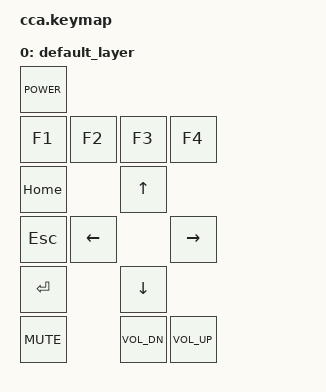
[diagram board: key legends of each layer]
// This file was generated from a template. Edit it to match your keyboard.
// See https://zmk.dev/docs/development/hardware-integration/new-shield for more instructions.

#include <behaviors.dtsi>
#include <dt-bindings/zmk/bt.h>
#include <dt-bindings/zmk/keys.h>

/ {
    behaviors {
        // Use a macro because can't place <&bt BT_CLR> directly in hold-tap
        ZMK_MACRO(bt_clr, bindings = <&bt BT_CLR>;)

        // Unpair/unbind BLE with a 6 second hold of the combo that triggers this operation
        unbind_bt: unbind_bt {
            compatible = "zmk,behavior-hold-tap";
            #binding-cells = <2>;
            tapping-term-ms = <6000>;
            flavor = "tap-preferred";
            bindings = <&bt_clr>, <&none>;
        };
        // Reset the firmware with a 6 second hold of the combo that triggers this operation
        mreset: mreset {
            compatible = "zmk,behavior-hold-tap";
            #binding-cells = <2>;
            tapping-term-ms = <6000>;
            flavor = "tap-preferred";
            bindings = <&sys_reset>, <&none>;
        };
        // Reset the firmware to the bootloader with a 10 second hold of the combo that triggers this operation
        mbootloader: mbootloader {
            compatible = "zmk,behavior-hold-tap";
            #binding-cells = <2>;
            tapping-term-ms = <10000>;
            flavor = "tap-preferred";
            bindings = <&bootloader>, <&none>;
        };
    };

    combos {
        compatible = "zmk,combos";
        combo_unpair {
            timeout-ms = <50>;
            key-positions = <0 14>;
            bindings = <&unbind_bt 0 0>;
        };
        combo_reset {
            timeout-ms = <50>;
            key-positions = <0 12>;
            bindings = <&mreset 0 0>;
        };
        combo_bootloader {
            timeout-ms = <50>;
            key-positions = <0 7 10>;
            bindings = <&mbootloader 0 0>;
        };
    };

    // Define a default keymap here.
    // See https://zmk.dev/docs/development/hardware-integration/new-shield#default-keymap.
    keymap {
        compatible = "zmk,keymap";

        default_layer {
            bindings = <
                &kp K_POWER
                &kp F1 &kp F2 &kp F3 &kp F4
                &kp HOME        &kp UP_ARROW
                &kp ESC   &kp LEFT_ARROW &kp RIGHT_ARROW
                &kp ENTER      &kp DOWN_ARROW
                &kp K_MUTE &kp K_VOL_DN &kp K_VOL_UP
            >;

        // Same functionality with media buttons
        //default_layer {
        //    bindings = <
        //        &kp K_POWER
        //        &kp F1 &kp F2 &kp F3 &kp F4
        //        &kp HOME               &kp C_MENU_UP
        //        &kp C_MENU_ESC   &kp C_MENU_LEFT &kp C_MENU_RIGHT
        //        &kp C_MENU_SELECT      &kp C_MENU_DOWN
        //        &kp K_MUTE &kp K_VOL_DN &kp K_VOL_UP
        //    >;
        //};

        };
    };
};
